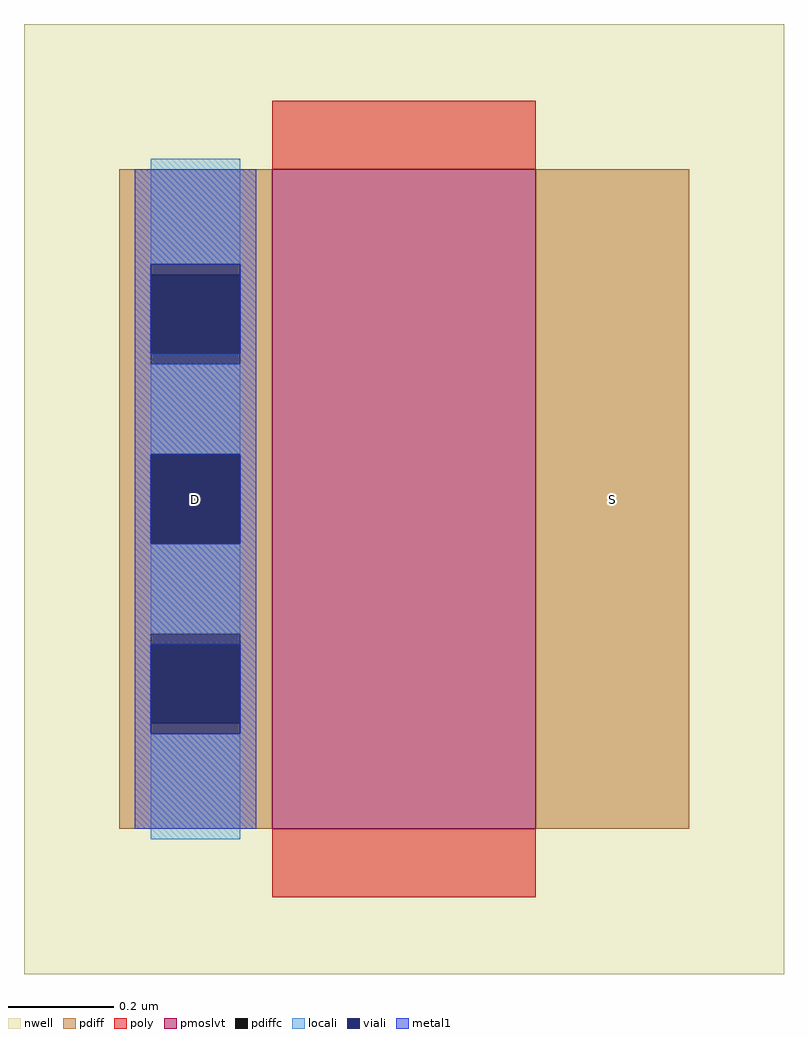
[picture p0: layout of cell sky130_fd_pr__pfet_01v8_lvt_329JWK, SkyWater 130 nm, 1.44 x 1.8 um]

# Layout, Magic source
magic
tech sky130A
magscale 1 2
<< nwell >>
rect -144 -144 144 216
<< pmoslvt >>
rect -50 -89 50 161
<< pdiff >>
rect -108 121 -50 161
rect -108 87 -96 121
rect -62 87 -50 121
rect -108 53 -50 87
rect -108 19 -96 53
rect -62 19 -50 53
rect -108 -15 -50 19
rect -108 -49 -96 -15
rect -62 -49 -50 -15
rect -108 -89 -50 -49
rect 50 -89 108 161
<< pdiffc >>
rect -96 87 -62 121
rect -96 19 -62 53
rect -96 -49 -62 -15
<< poly >>
rect -50 161 50 187
rect -50 -115 50 -89
<< locali >>
rect -96 125 -62 165
rect -96 53 -62 87
rect -96 -15 -62 19
rect -96 -93 -62 -53
<< viali >>
rect -96 121 -62 125
rect -96 91 -62 121
rect -96 19 -62 53
rect -96 -49 -62 -19
rect -96 -53 -62 -49
<< metal1 >>
rect -102 125 -56 161
rect -102 91 -96 125
rect -62 91 -56 125
rect -102 53 -56 91
rect -102 19 -96 53
rect -62 19 -56 53
rect -102 -19 -56 19
rect -102 -53 -96 -19
rect -62 -53 -56 -19
rect -102 -89 -56 -53
<< labels >>
rlabel locali s -79 36 -79 36 4 D
rlabel locali s 79 36 79 36 4 S
<< end >>
